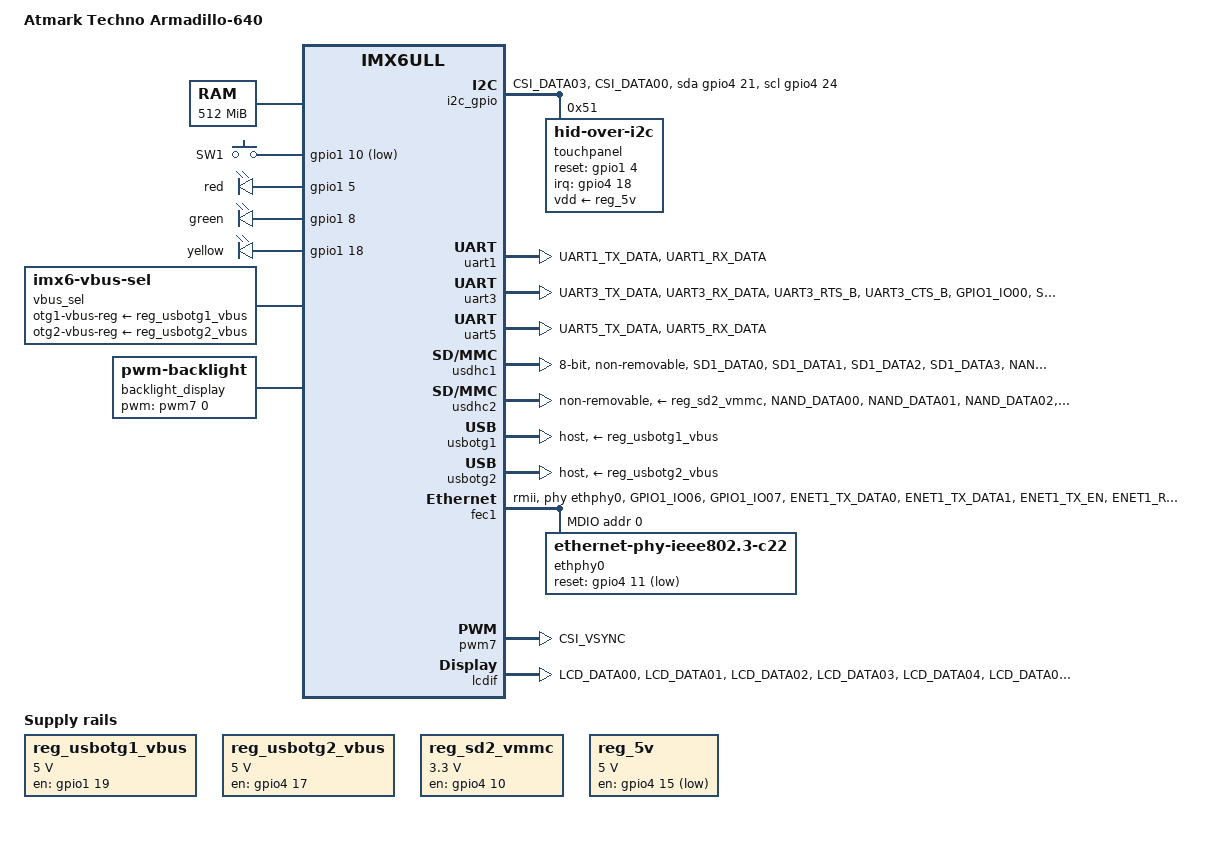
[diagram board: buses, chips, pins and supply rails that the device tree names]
/*
 * Copyright (C) 2017 Yasushi SHOJI <yashi@atmark-techno.com>
 *
 * SPDX-License-Identifier: (GPL-2.0 OR MIT)
 */

/dts-v1/;

#include "imx6ull.dtsi"

/ {
	model = "Atmark Techno Armadillo-640";
	compatible = "atmark,a640", "fsl,imx6ull";

	chosen {
		stdout-path = &uart1;
	};

	memory {
		reg = <0x80000000 0x20000000>;
	};

	gpio-keys {
		compatible = "gpio-keys";
		pinctrl-names = "default";
		pinctrl-0 = <&pinctrl_gpio_keys>;

		sw1 {
			label = "SW1";
			gpios = <&gpio1 10 GPIO_ACTIVE_LOW>;
			linux,code = <KEY_ENTER>;
		};
	};

	gpio-leds {
		compatible = "gpio-leds";
		pinctrl-names = "default";
		pinctrl-0 = <&pinctrl_gpio_leds>;

		red {
			label = "red";
			gpios = <&gpio1 5 GPIO_ACTIVE_HIGH>;
			linux,default-trigger = "default-on";
		};
		green {
			label = "green";
			gpios = <&gpio1 8 GPIO_ACTIVE_HIGH>;
			linux,default-trigger = "default-on";
		};
		yellow {
			label = "yellow";
			gpios = <&gpio1 18 GPIO_ACTIVE_HIGH>;
			linux,default-trigger = "none";
		};
	};

	regulators {
		compatible = "simple-bus";
		#address-cells = <1>;
		#size-cells = <0>;

		reg_usbotg1_vbus: regulator-usbotg1vbus {
			pinctrl-names = "default";
			pinctrl-0 = <&pinctrl_usbotg1_vbus>;
			compatible = "regulator-fixed";
			regulator-name = "USB_OTG1_VBUS";
			regulator-min-microvolt = <5000000>;
			regulator-max-microvolt = <5000000>;
			gpio = <&gpio1 19 GPIO_ACTIVE_HIGH>;
			enable-active-high;
		};

		reg_usbotg2_vbus: regulator-usbotg2vbus {
			pinctrl-names = "default";
			pinctrl-0 = <&pinctrl_usbotg2_vbus>;
			compatible = "regulator-fixed";
			regulator-name = "USB_OTG2_VBUS";
			regulator-min-microvolt = <5000000>;
			regulator-max-microvolt = <5000000>;
			gpio = <&gpio4 17 GPIO_ACTIVE_HIGH>;
			enable-active-high;
		};

		reg_sd2_vmmc: regulator-sd2vmmc {
			pinctrl-names = "default";
			pinctrl-0 = <&pinctrl_sd2_vmmc>;
			compatible = "regulator-fixed";
			regulator-name = "VDD_SD2";
			regulator-min-microvolt = <3300000>;
			regulator-max-microvolt = <3300000>;
			gpio = <&gpio4 10 GPIO_ACTIVE_HIGH>;
			enable-active-high;
			regulator-boot-on;
		};
	};

	vbus_sel: vbus-sel {
		compatible = "imx6-vbus-sel";
		otg1-vbus-reg-supply = <&reg_usbotg1_vbus>;
		otg2-vbus-reg-supply = <&reg_usbotg2_vbus>;
	};

	backlight_display: backlight-display {
		compatible = "pwm-backlight";
		pwms = <&pwm7 0 5000000>;
		brightness-levels = <0 128 129 130 131 132 133 134 135 136 137 138 139 140 141 142 143 144 145 146 147 148 149 150 151 152 153 154 155 156 157 158 159 160 161 162 163 164 165 166 167 168 169 170 171 172 173 174 175 176 177 178 179 180 181 182 183 184 185 186 187 188 189 190 191 192 193 194 195 196 197 198 199 200 201 202 203 204 205 206 207 208 209 210 211 212 213 214 215 216 217 218 219 220 221 222 223 224 225 226 227 228 229 230 231 232 233 234 235 236 237 238 239 240 241 242 243 244 245 246 247 248 249 250 251 252 253 254 255>;
		default-brightness-level = <128>;
		status = "okay";
	};

	regulators: regulators0 {
		compatible = "simple-bus";
		#address-cells = <1>;
		#size-cells = <0>;

		reg_5v: regulator@0 {
			compatible = "regulator-fixed";
			reg = <0>;
			regulator-name = "5V";
			regulator-min-microvolt = <5000000>;
			regulator-max-microvolt = <5000000>;
			gpio = <&gpio4 15 GPIO_ACTIVE_HIGH>;
		};
	};

	i2c_gpio: i2c-gpio {
		compatible = "i2c-gpio";
		#address-cells = <1>;
		#size-cells = <0>;
		pinctrl-names = "default";
		pinctrl-0 = <&pinctrl_i2c_gpio>;
		gpios = <
			&gpio4 21 GPIO_ACTIVE_HIGH /* SDA */
			&gpio4 24 GPIO_ACTIVE_HIGH /* SCL */
		>;
		i2c-gpio,delay-us = <2>;

		status = "okay";

		touchpanel@51 {
			compatible = "hid-over-i2c";
			interrupt-parent = <&gpio4>;
			interrupts = <18 IRQ_TYPE_NONE>;
			reg = <0x51>;
			hid-descr-addr = <0x0001>;
			vdd-supply = <&reg_5v>;
			reset-gpio = <&gpio1 4 GPIO_ACTIVE_HIGH>;
		};
	};
};

&uart1 {
	pinctrl-names = "default";
	pinctrl-0 = <&pinctrl_uart1>;
	status = "okay";
};

&uart3 {
	pinctrl-names = "default";
	pinctrl-0 = <&pinctrl_uart3>;
	status = "okay";
	uart-has-rtscts;
	dtr-gpios = <&gpio1 00 GPIO_ACTIVE_LOW>;
	dsr-gpios = <&gpio5 00 GPIO_ACTIVE_LOW>;
	dcd-gpios = <&gpio5 02 GPIO_ACTIVE_LOW>;
	rng-gpios = <&gpio5 01 GPIO_ACTIVE_LOW>;
};

&uart5 {
	pinctrl-names = "default";
	pinctrl-0 = <&pinctrl_uart5>;
	status = "okay";
};

&usdhc1 {
	pinctrl-names = "default";
	pinctrl-0 = <&pinctrl_usdhc1>;
	bus-width = <8>;
	no-1-8-v;
	non-removable;
	keep-power-in-suspend;
	wakeup-source;
	status = "okay";
};

&usdhc2 {
	pinctrl-names = "default";
	pinctrl-0 = <&pinctrl_usdhc2>;
	broken-cd;
	vmmc-supply = <&reg_sd2_vmmc>;
	no-1-8-v;
	non-removable;
	keep-power-in-suspend;
	wakeup-source;
	status = "okay";
};

&iomuxc {
	pinctrl-names = "default";
	pinctrl-0 = <&pinctrl_hog>;

	pinctrl_hog: hoggrp {
		fsl,pins = <
			MX6UL_PAD_GPIO1_IO04__GPIO1_IO04      0x1b0b0
			MX6UL_PAD_CSI_PIXCLK__GPIO4_IO18      0x1b0b0
			MX6UL_PAD_GPIO1_IO03__GPIO1_IO03      0x130b0 /* 18BIT_ENABLE */
		>;
	};

	pinctrl_uart1: uart1grp {
		fsl,pins = <
			MX6UL_PAD_UART1_TX_DATA__UART1_DCE_TX 0x00008
			MX6UL_PAD_UART1_RX_DATA__UART1_DCE_RX 0x1b0b1
		>;
	};
	pinctrl_uart3: uart3grp {
		fsl,pins = <
			MX6UL_PAD_UART3_TX_DATA__UART3_DCE_TX 0x00008
			MX6UL_PAD_UART3_RX_DATA__UART3_DCE_RX 0x1b0b1
			MX6UL_PAD_UART3_RTS_B__UART3_DCE_RTS 0x1b0b1
			MX6UL_PAD_UART3_CTS_B__UART3_DCE_CTS 0x00008
			MX6UL_PAD_GPIO1_IO00__GPIO1_IO00 0x00008 /*DTR*/
			MX6ULL_PAD_SNVS_TAMPER0__GPIO5_IO00 0x1b0b1/*DSR*/
			MX6ULL_PAD_SNVS_TAMPER2__GPIO5_IO02 0x1b0b1/*DCD*/
			MX6ULL_PAD_SNVS_TAMPER1__GPIO5_IO01 0x1b0b1/*RI*/
		>;
	};

	pinctrl_uart5: uart5grp {
		fsl,pins = <
		MX6UL_PAD_UART5_TX_DATA__UART5_DCE_TX 0x00008
		MX6ULL_PAD_UART5_RX_DATA__UART5_DCE_RX 0x1b0b1
		>;
	};

	pinctrl_enet1: enet1grp {
		fsl,pins = <
			MX6UL_PAD_GPIO1_IO06__ENET1_MDIO	0x0b808
			MX6UL_PAD_GPIO1_IO07__ENET1_MDC		0x0b008
			MX6UL_PAD_ENET1_TX_DATA0__ENET1_TDATA00	0x0b010
			MX6UL_PAD_ENET1_TX_DATA1__ENET1_TDATA01	0x0b010
			MX6UL_PAD_ENET1_TX_EN__ENET1_TX_EN	0x1b0b0
			MX6UL_PAD_ENET1_RX_DATA0__ENET1_RDATA00	0x1b0b0
			MX6UL_PAD_ENET1_RX_DATA1__ENET1_RDATA01	0x1b0b0
			MX6UL_PAD_ENET1_RX_ER__ENET1_RX_ER	0x1b0b0
			MX6UL_PAD_ENET1_RX_EN__ENET1_RX_EN	0x1b0b0
			MX6UL_PAD_ENET1_TX_CLK__ENET1_REF_CLK1	0x4001b018
		>;
	};

	pinctrl_usdhc1: usdhc1grp {
		fsl,pins = <
			MX6UL_PAD_SD1_DATA0__USDHC1_DATA0	0x17059
			MX6UL_PAD_SD1_DATA1__USDHC1_DATA1	0x17059
			MX6UL_PAD_SD1_DATA2__USDHC1_DATA2	0x17059
			MX6UL_PAD_SD1_DATA3__USDHC1_DATA3	0x17059
			MX6UL_PAD_NAND_READY_B__USDHC1_DATA4	0x17059
			MX6UL_PAD_NAND_CE0_B__USDHC1_DATA5	0x17059
			MX6UL_PAD_NAND_CE1_B__USDHC1_DATA6	0x17059
			MX6UL_PAD_NAND_CLE__USDHC1_DATA7	0x17059
			MX6UL_PAD_SD1_CLK__USDHC1_CLK		0x17059
			MX6UL_PAD_SD1_CMD__USDHC1_CMD		0x17059
			MX6UL_PAD_GPIO1_IO09__USDHC1_RESET_B	0x17059
		>;
	};

	pinctrl_usdhc2: usdhc2grp {
		fsl,pins = <
			MX6UL_PAD_NAND_DATA00__USDHC2_DATA0 0x10059
			MX6UL_PAD_NAND_DATA01__USDHC2_DATA1 0x10059
			MX6UL_PAD_NAND_DATA02__USDHC2_DATA2 0x10059
			MX6UL_PAD_NAND_DATA03__USDHC2_DATA3 0x10059
			MX6UL_PAD_NAND_RE_B__USDHC2_CLK     0x10069
			MX6UL_PAD_NAND_WE_B__USDHC2_CMD     0x10059
		>;
	};

	pinctrl_gpio_keys: gpiokeysgrp {
		fsl,pins = <
			MX6UL_PAD_JTAG_MOD__GPIO1_IO10     0x13080
		>;
	};

	pinctrl_gpio_leds: gpioledsgrp {
		fsl,pins = <
			MX6UL_PAD_GPIO1_IO05__GPIO1_IO05   0x00008
			MX6UL_PAD_GPIO1_IO08__GPIO1_IO08   0x00008
			MX6UL_PAD_UART1_CTS_B__GPIO1_IO18  0x00008
		>;
	};

	pinctrl_usbotg1_vbus: usbotg1vbusgrp {
		fsl,pins = <
			MX6UL_PAD_UART1_RTS_B__GPIO1_IO19  0x00008
		>;
	};

	pinctrl_usbotg2_vbus: usbotg2vbusgrp {
		fsl,pins = <
			MX6UL_PAD_CSI_MCLK__GPIO4_IO17     0x00008
		>;
	};

	pinctrl_sd2_vmmc: sd2vmmcgrp {
		fsl,pins = <
			MX6UL_PAD_NAND_ALE__GPIO4_IO10  0x00008
		>;
	};

	pinctrl_wdog: wdoggrp {
		fsl,pins = <
			MX6UL_PAD_LCD_RESET__WDOG1_WDOG_ANY    0x30b0
			>;
	};

	pinctrl_pwm7: pwm7grp {
		fsl,pins = <
			MX6UL_PAD_CSI_VSYNC__PWM7_OUT   0x110b0
		>;
	};

	pinctrl_lcdif_dat: lcdifdatgrp {
		fsl,pins = <
			MX6UL_PAD_LCD_DATA00__LCDIF_DATA00  0x08
			MX6UL_PAD_LCD_DATA01__LCDIF_DATA01  0x08
			MX6UL_PAD_LCD_DATA02__LCDIF_DATA02  0x08
			MX6UL_PAD_LCD_DATA03__LCDIF_DATA03  0x08
			MX6UL_PAD_LCD_DATA04__LCDIF_DATA04  0x08
			MX6UL_PAD_LCD_DATA05__LCDIF_DATA05  0x08
			MX6UL_PAD_LCD_DATA06__LCDIF_DATA06  0x08
			MX6UL_PAD_LCD_DATA07__LCDIF_DATA07  0x08
			MX6UL_PAD_LCD_DATA08__LCDIF_DATA08  0x08
			MX6UL_PAD_LCD_DATA09__LCDIF_DATA09  0x08
			MX6UL_PAD_LCD_DATA10__LCDIF_DATA10  0x08
			MX6UL_PAD_LCD_DATA11__LCDIF_DATA11  0x08
			MX6UL_PAD_LCD_DATA12__LCDIF_DATA12  0x08
			MX6UL_PAD_LCD_DATA13__LCDIF_DATA13  0x08
			MX6UL_PAD_LCD_DATA14__LCDIF_DATA14  0x08
			MX6UL_PAD_LCD_DATA15__LCDIF_DATA15  0x08
			MX6UL_PAD_LCD_DATA16__LCDIF_DATA16  0x08
			MX6UL_PAD_LCD_DATA17__LCDIF_DATA17  0x08
		>;
	};

	pinctrl_lcdif_ctrl: lcdifctrlgrp {
		fsl,pins = <
			MX6UL_PAD_LCD_CLK__LCDIF_CLK	    0x08
			MX6UL_PAD_LCD_ENABLE__LCDIF_ENABLE  0x08
			MX6UL_PAD_LCD_HSYNC__LCDIF_HSYNC    0x08
			MX6UL_PAD_LCD_VSYNC__LCDIF_VSYNC    0x08
		>;
	};

	pinctrl_i2c_gpio: i2c-gpiogrp {
		fsl,pins = <
			MX6UL_PAD_CSI_DATA03__GPIO4_IO24  0x4001b8b1 /* SCL */
			MX6UL_PAD_CSI_DATA00__GPIO4_IO21  0x4001b8b1 /* SDA */
		>;
	};
};

&usbotg1 {
	vbus-supply = <&reg_usbotg1_vbus>;
	dr_mode = "host";
	disable-over-current;
	status = "okay";
};

&usbotg2 {
	vbus-supply = <&reg_usbotg2_vbus>;
	dr_mode = "host";
	disable-over-current;
	status = "okay";
};

&usbphy2 {
	fsl,tx-d-cal = <106>;
};

&fec1 {
	pinctrl-names = "default";
	pinctrl-0 = <&pinctrl_enet1>;
	phy-mode = "rmii";
	phy-handle = <&ethphy0>;
	status = "okay";

	mdio {
		#address-cells = <1>;
		#size-cells = <0>;

		ethphy0: ethernet-phy@0 {
			compatible = "ethernet-phy-ieee802.3-c22";
			reset-gpios = <&gpio4 11 GPIO_ACTIVE_LOW>;
			reset-delay-us = <800>;
			reset-post-delay-us = <15000>;
			reg = <0>;
			clocks = <&clks IMX6UL_CLK_ENET_REF>;
			clock-names = "rmii-ref";

		};
	};
};

&snvs_poweroff {
	status = "okay";
};

&wdog1 {
	pinctrl-names = "default";
	pinctrl-0 = <&pinctrl_wdog>;
	timeout-sec = <10>;
	fsl,ext-reset-output;
};

&pwm7 {
	pinctrl-names = "default";
	pinctrl-0 = <&pinctrl_pwm7>;
	status = "okay";
};

&lcdif {
	pinctrl-names = "default";
	pinctrl-0 = <&pinctrl_lcdif_dat
		     &pinctrl_lcdif_ctrl>;
	display = <&display0>;
	status = "okay";

	display0: display {
		bits-per-pixel = <32>;
		bus-width = <18>;

		display-timings {
			timing0: timing {
				/* GT800X480A-1013R */
				clock-frequency = <30600000>;
				hactive = <800>;
				vactive = <480>;
				hback-porch = <32>;
				hfront-porch = <13>;
				vback-porch = <88>;
				vfront-porch = <40>;
				hsync-len = <48>;
				vsync-len = <3>;
				de-active = <1>;
				pixelclk-active = <0>;
			};
		};
	};
};
